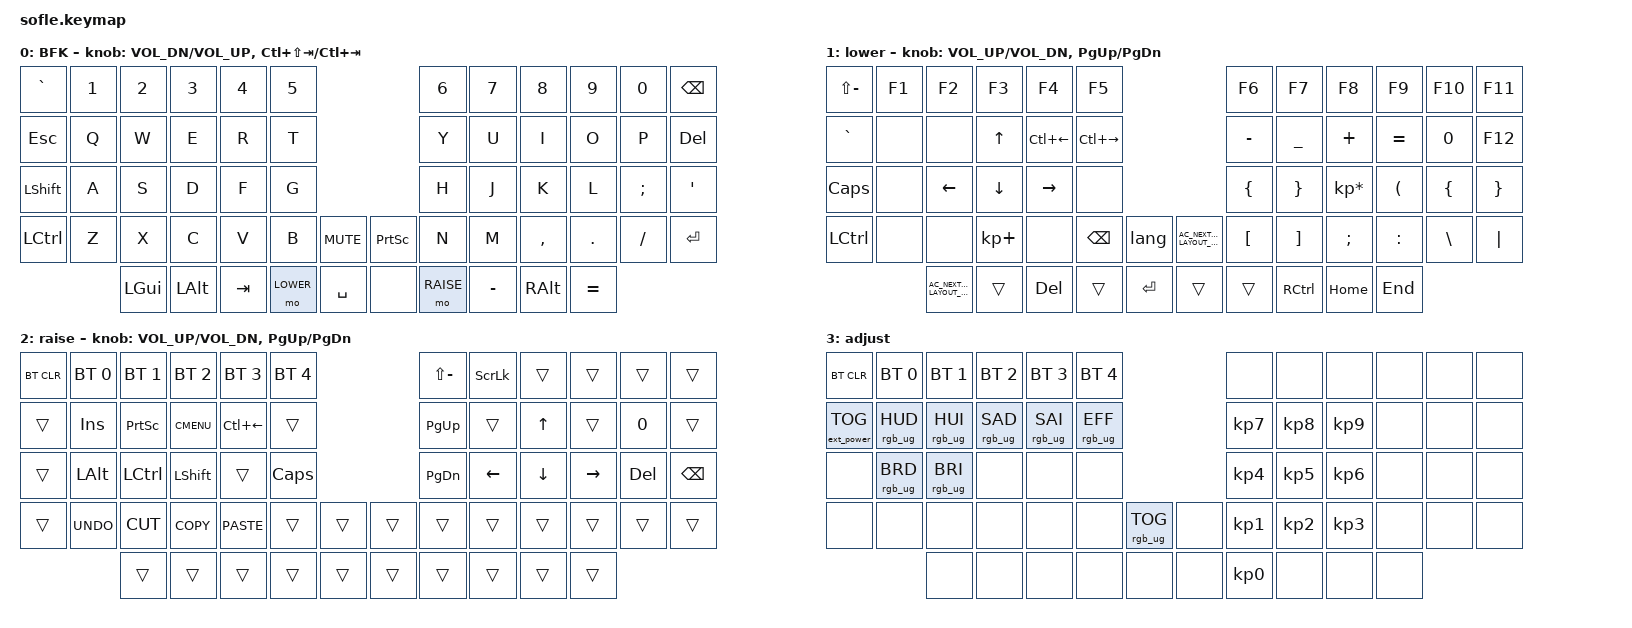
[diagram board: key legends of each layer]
/*
 * Copyright (c) 2020 The ZMK Contributors
 *
 * SPDX-License-Identifier: MIT
 */

#include <behaviors.dtsi>
#include <dt-bindings/zmk/bt.h>
#include <dt-bindings/zmk/ext_power.h>
#include <dt-bindings/zmk/keys.h>
#include <dt-bindings/zmk/rgb.h>

#define BASE 0
#define LOWER 1
#define RAISE 2
#define ADJUST 3

/ {
    // Activate ADJUST layer by pressing raise and lower

    conditional_layers {
        compatible = "zmk,conditional-layers";

        adjust_layer {
            if-layers = <LOWER RAISE>;
            then-layer = <ADJUST>;
        };
    };

    macros {
        lang: lang {
            compatible = "zmk,behavior-macro";
            #binding-cells = <0>;
            bindings = <&kp LEFT_WIN>, <&macro_tap>, <&kp SPACE>;

            label = "lang";
        };
    };

    keymap {
        compatible = "zmk,keymap";

        default_layer {
            display-name = "BFK";

            // ------------------------------------------------------------------------------------------------------------
            // |   `   |  1  |  2  |  3   |  4   |  5   |                   |  6   |  7    |  8    |  9   |   0   |  F5   |
            // |  ESC  |  Q  |  W  |  E   |  R   |  T   |                   |  Y   |  U    |  I    |  O   |   P   | BKSPC |
            // |  TAB  |  A  |  S  |  D   |  F   |  G   |                   |  H   |  J    |  K    |  L   |   ;   |   '   |
            // | SHIFT |  Z  |  X  |  C   |  V   |  B   |  MUTE  |  |       |  N   |  M    |  ,    |  .   |   /   | SHIFT |
            //               | GUI | ALT  | CTRL | LOWER|  ENTER |  | SPACE | RAISE| CTRL  | ALT   | GUI  |

            bindings = <
&kp GRAVE         &kp N1  &kp N2    &kp N3    &kp N4   &kp N5                                    &kp N6     &kp N7     &kp N8         &kp N9     &kp N0    &kp BACKSPACE
&kp ESC           &kp Q   &kp W     &kp E     &kp R    &kp T                                     &kp Y      &kp U      &kp I          &kp O      &kp P     &kp DEL
&kp LEFT_SHIFT    &kp A   &kp S     &kp D     &kp F    &kp G                                     &kp H      &kp J      &kp K          &kp L      &kp SEMI  &kp SQT
&kp LEFT_CONTROL  &kp Z   &kp X     &kp C     &kp V    &kp B      &kp C_MUTE    &kp PRINTSCREEN  &kp N      &kp M      &kp COMMA      &kp DOT    &kp FSLH  &kp ENTER
                          &kp LGUI  &kp LALT  &kp TAB  &mo LOWER  &kp SPACE     &none            &mo RAISE  &kp MINUS  &kp RIGHT_ALT  &kp EQUAL
            >;

            sensor-bindings =
                <&inc_dec_kp C_VOL_DN C_VOL_UP>,
                <&inc_dec_kp LC(LS(TAB)) LC(TAB)>;
        };

        lower_layer {
            display-name = "lower";

            // TODO: Some binds are waiting for shifted keycode support.
            // ------------------------------------------------------------------------------------------------------------
            // |       |  F1 |  F2 |  F3  |  F4  |  F5  |                   |  F6  |  F7   |  F8   |  F9  |  F10  |  F11  |
            // |   `   |  1  |  2  |  3   |  4   |  5   |                   |  6   |  7    |  8    |  9   |   0   |  F12  |
            // |       |  !  |  @  |  #   |  $   |  %   |                   |  ^   |  &    |  *    |  (   |   )   |   |   |
            // |       |  =  |  -  |  +   |  {   |  }   |        |  |       |  [   |  ]    |  ;    |  :   |   \   |       |
            //               |     |      |      |      |        |  |       |      |       |       |      |

            bindings = <
&kp LS(MINUS)     &kp F1  &kp F2                                &kp F3        &kp F4              &kp F5                                                            &kp F6          &kp F7             &kp F8           &kp F9     &kp F10         &kp F11
&kp GRAVE         &none   &none                                 &kp UP_ARROW  &kp LC(LEFT_ARROW)  &kp LC(RIGHT)                                                     &kp MINUS       &kp UNDERSCORE     &kp PLUS         &kp EQUAL  &kp N0          &kp F12
&kp CAPSLOCK      &none   &kp LEFT_ARROW                        &kp DOWN      &kp RIGHT           &none                                                             &kp LEFT_BRACE  &kp RIGHT_BRACE    &kp KP_MULTIPLY  &kp LPAR   &kp LEFT_BRACE  &kp RIGHT_BRACE
&kp LEFT_CONTROL  &none   &none                                 &kp KP_PLUS   &none               &kp BACKSPACE  &lang        &kp C_AC_NEXT_KEYBOARD_LAYOUT_SELECT  &kp LBKT        &kp RBKT           &kp SEMI         &kp COLON  &kp BSLH        &kp PIPE
                          &kp C_AC_NEXT_KEYBOARD_LAYOUT_SELECT  &trans        &kp DELETE          &trans         &kp ENTER    &trans                                &trans          &kp RIGHT_CONTROL  &kp HOME         &kp END
            >;

            sensor-bindings = <&inc_dec_kp C_VOL_UP C_VOL_DN &inc_dec_kp PG_UP PG_DN>;
        };

        raise_layer {
            display-name = "raise";

            // ------------------------------------------------------------------------------------------------------------
            // | BTCLR | BT1  | BT2  |  BT3  |  BT4  |  BT5 |                |      |      |       |      |       |       |
            // |       | INS  | PSCR | GUI   |       |      |                | PGUP |      |   ^   |      |       |       |
            // |       | ALT  | CTRL | SHIFT |       | CAPS |                | PGDN |   <- |   v   |  ->  |  DEL  | BKSPC |
            // |       | UNDO | CUT  | COPY  | PASTE |      |      |  |      |      |      |       |      |       |       |
            //                |      |       |       |      |      |  |      |      |      |       |      |

            bindings = <
&bt BT_CLR  &bt BT_SEL 0  &bt BT_SEL 1  &bt BT_SEL 2  &bt BT_SEL 3        &bt BT_SEL 4                    &kp LS(MINUS)  &kp SCROLLLOCK  &trans    &trans     &trans   &trans
&trans      &kp INS       &kp PSCRN     &kp K_CMENU   &kp LC(LEFT_ARROW)  &trans                          &kp PG_UP      &trans          &kp UP    &trans     &kp N0   &trans
&trans      &kp LALT      &kp LCTRL     &kp LSHFT     &trans              &kp CLCK                        &kp PG_DN      &kp LEFT        &kp DOWN  &kp RIGHT  &kp DEL  &kp BSPC
&trans      &kp K_UNDO    &kp K_CUT     &kp K_COPY    &kp K_PASTE         &trans        &trans    &trans  &trans         &trans          &trans    &trans     &trans   &trans
                          &trans        &trans        &trans              &trans        &trans    &trans  &trans         &trans          &trans    &trans
            >;

            sensor-bindings = <&inc_dec_kp C_VOL_UP C_VOL_DN &inc_dec_kp PG_UP PG_DN>;
        };

        adjust_layer {
            // ----------------------------------------------------------------------------------------------------------------------------
            // | BTCLR  |  BT1    |  BT2    |   BT3   |   BT4   |   BT5   |                  |      |      |       |      |       |       |
            // | EXTPWR | RGB_HUD | RGB_HUI | RGB_SAD | RGB_SAI | RGB_EFF |                  |      |      |       |      |       |       |
            // |        | RGB_BRD | RGB_BRI |         |         |         |                  |      |      |       |      |       |       |
            // |        |         |         |         |         |         | RGB_TOG | |      |      |      |       |      |       |       |
            //                    |         |         |         |         |         | |      |      |      |       |      |

            display-name = "adjust";
            bindings = <
&bt BT_CLR         &bt BT_SEL 0     &bt BT_SEL 1     &bt BT_SEL 2     &bt BT_SEL 3     &bt BT_SEL 4                               &none            &none            &none            &none  &none  &none
&ext_power EP_TOG  &rgb_ug RGB_HUD  &rgb_ug RGB_HUI  &rgb_ug RGB_SAD  &rgb_ug RGB_SAI  &rgb_ug RGB_EFF                            &kp KP_NUMBER_7  &kp KP_NUMBER_8  &kp KP_NUMBER_9  &none  &none  &none
&none              &rgb_ug RGB_BRD  &rgb_ug RGB_BRI  &none            &none            &none                                      &kp KP_NUMBER_4  &kp KP_NUMBER_5  &kp KP_NUMBER_6  &none  &none  &none
&none              &none            &none            &none            &none            &none            &rgb_ug RGB_TOG    &none  &kp KP_NUMBER_1  &kp KP_NUMBER_2  &kp KP_NUMBER_3  &none  &none  &none
                                    &none            &none            &none            &none            &none              &none  &kp KP_NUMBER_0  &none            &none            &none
            >;
        };
    };
};
